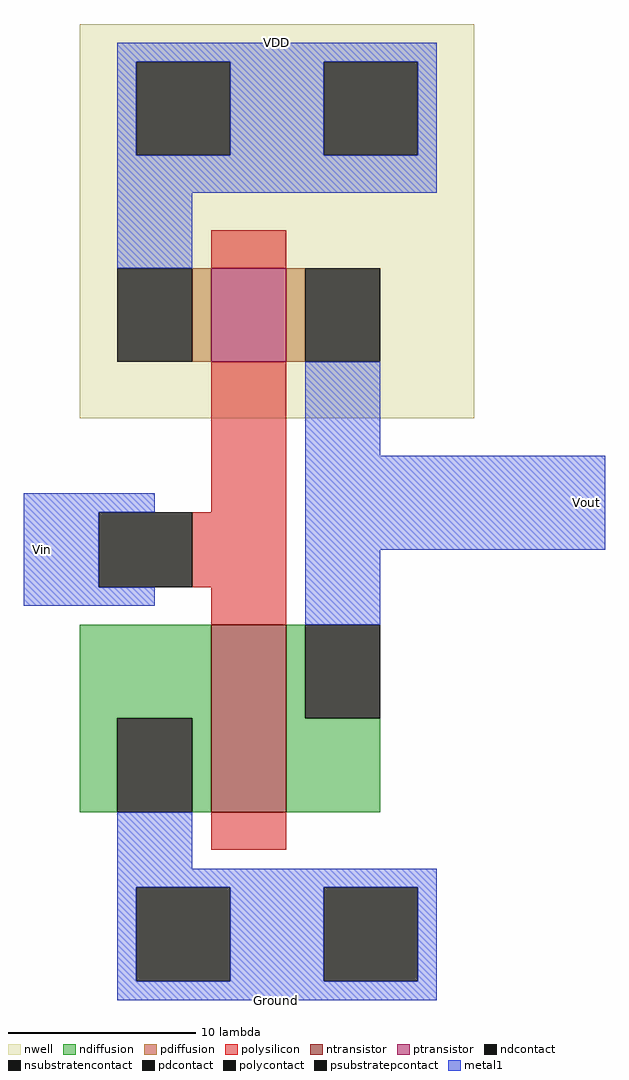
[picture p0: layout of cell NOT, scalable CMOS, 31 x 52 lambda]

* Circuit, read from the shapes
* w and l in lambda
.subckt NOT Ground VDD Vin Vout
M1 Vout Vin Ground Ground nfet w=10 l=4
M2 Vout Vin VDD VDD pfet w=5 l=4
.ends

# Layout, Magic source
magic
tech scmos
<< nwell >>
rect -4 3 17 24
<< polysilicon >>
rect 3 11 7 13
rect 3 -2 7 6
rect 2 -6 7 -2
rect 3 -8 7 -6
rect 3 -20 7 -18
<< ndiffusion >>
rect -4 -13 3 -8
rect -4 -18 -2 -13
rect 2 -18 3 -13
rect 7 -13 8 -8
rect 7 -18 12 -13
<< pdiffusion >>
rect 2 6 3 11
rect 7 6 8 11
<< metal1 >>
rect -2 22 15 23
rect -2 17 -1 22
rect 4 17 9 22
rect 14 17 15 22
rect -2 15 15 17
rect -2 11 2 15
rect 8 1 12 6
rect -7 -2 0 -1
rect -7 -6 -3 -2
rect 8 -4 24 1
rect -7 -7 0 -6
rect 8 -8 12 -4
rect -2 -21 2 -18
rect -2 -22 15 -21
rect -2 -27 -1 -22
rect 4 -27 9 -22
rect 14 -27 15 -22
rect -2 -28 15 -27
<< ntransistor >>
rect 3 -18 7 -8
<< ptransistor >>
rect 3 6 7 11
<< polycontact >>
rect -3 -6 2 -2
<< ndcontact >>
rect -2 -18 2 -13
rect 8 -13 12 -8
<< pdcontact >>
rect -2 6 2 11
rect 8 6 12 11
<< psubstratepcontact >>
rect -1 -27 4 -22
rect 9 -27 14 -22
<< nsubstratencontact >>
rect -1 17 4 22
rect 9 17 14 22
<< labels >>
rlabel metal1 -2 23 15 23 5 VDD
rlabel metal1 -2 -28 15 -28 1 Ground
rlabel metal1 23 -4 23 1 7 Vout
rlabel metal1 -6 -7 -6 -1 3 Vin
<< end >>
